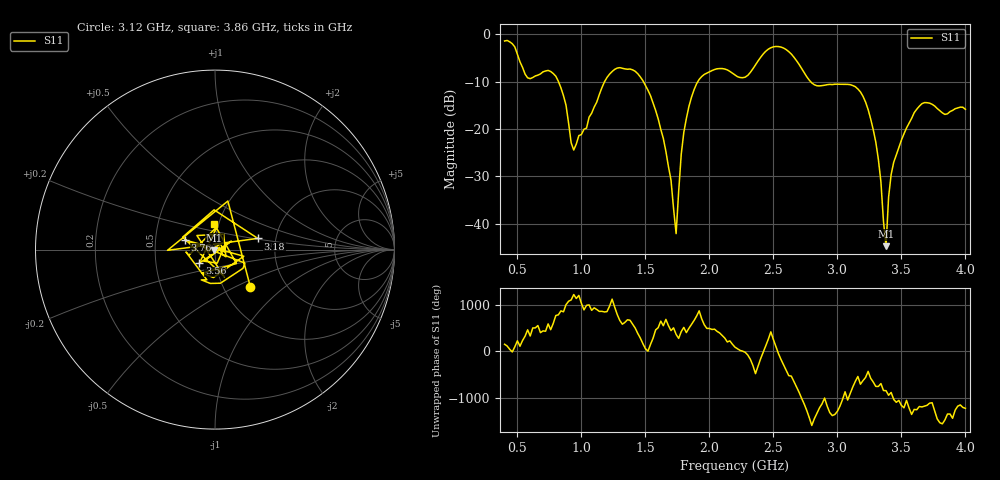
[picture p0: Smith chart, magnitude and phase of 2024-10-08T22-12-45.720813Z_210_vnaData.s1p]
! Created with skrf (http://scikit-rf.org).
# Hz S RI R 50.0
!freq ReS11 ImS11
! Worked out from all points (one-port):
!   181 points, 400 MHz to 4 GHz, reference 50 ohm
!   lowest |S11| = -44.7 dB at 3.38 GHz (marker M1), VSWR 1.01, Z = 49.7 - j0.475 ohm
!   |S11| at or under -10 dB: 821.1 MHz to 1.181 GHz (359.6 MHz wide, 35.9 % of centre); 1.485 GHz to 1.909 GHz (424.7 MHz wide, 25 % of centre); 2.791 GHz to end of sweep
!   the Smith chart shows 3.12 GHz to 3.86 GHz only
!   S11 on the Smith chart (normalised r, x): 3.12 GHz: 1.33, -0.61; 3.18 GHz: 1.61, +0.21; 3.56 GHz: 0.83, -0.13; 3.76 GHz: 0.71, +0.08; 3.86 GHz: 0.95, +0.28
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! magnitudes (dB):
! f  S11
! 400 MHz  -1.4
! 580 MHz  -9.2
! 760 MHz  -7.8
! 860 MHz  -13.0
! 940 MHz  -24.4
! 1.18 GHz  -10.0
! 1.3 GHz  -7.0
! 1.44 GHz  -8.3
! 1.58 GHz  -16.1
! 1.7 GHz  -30.8
! 1.74 GHz  -42.1
! 1.76 GHz  -33.1
! 1.8 GHz  -20.7
! 1.9 GHz  -10.4
! 2.2 GHz  -8.6
! 2.5 GHz  -2.6
! 2.66 GHz  -4.8
! 2.82 GHz  -10.7
! 3.1 GHz  -10.6
! 3.12 GHz  -10.8
! 3.18 GHz  -12.2
! 3.3 GHz  -22.7
! 3.38 GHz  -44.7
! 3.42 GHz  -29.6
! 3.56 GHz  -18.8
! 3.76 GHz  -15.1
! 3.86 GHz  -16.8
! 4 GHz  -15.8
